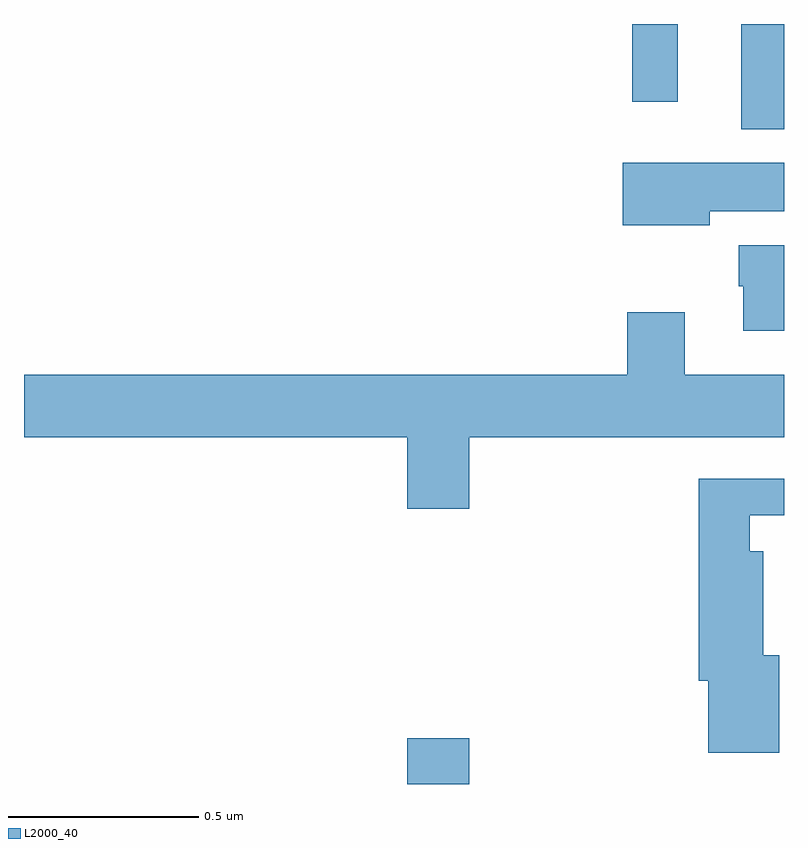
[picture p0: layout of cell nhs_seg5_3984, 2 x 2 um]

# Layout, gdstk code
import gdstk
lib = gdstk.Library(unit=1e-6, precision=1e-09)
def R(c, l, rs):  # rectangles x0, y0, x1, y1
    for r in rs: c.add(gdstk.rectangle(r[:2], r[2:], *l))
def P(c, l, *ps):  # polygons
    for p in ps: c.add(gdstk.Polygon(p, *l))
L2000_40 = (2000, 40)

nhs_seg5_3984 = lib.new_cell('nhs_seg5_3984')
R(nhs_seg5_3984, L2000_40, [(165.008,903.799,165.172,903.919), (165.887,905.522,166,905.799), (165.6,905.595,165.721,905.799)])
P(nhs_seg5_3984, L2000_40, [(165.805,905.306),(166,905.306),(166,905.434),(165.576,905.434),(165.576,905.27),(165.805,905.27)],
  [(166,905.217),(165.881,905.217),(165.881,905.109),(165.893,905.109),(165.893,904.992),(166,904.992)],
  [(165.172,904.712),(166,904.712),(166,904.876),(165.739,904.876),(165.739,905.041),(165.587,905.041),(165.587,904.876),(164,904.876),(164,904.712),(165.008,904.712),(165.008,904.524),(165.172,904.524)],
  [(165.988,904.138),(165.946,904.138),(165.946,904.411),(165.91,904.411),(165.91,904.506),(166,904.506),(166,904.602),(165.776,904.602),(165.776,904.071),(165.8,904.071),(165.8,903.881),(165.988,903.881)])

lib.write_gds('nhs_seg5_3984.gds')
